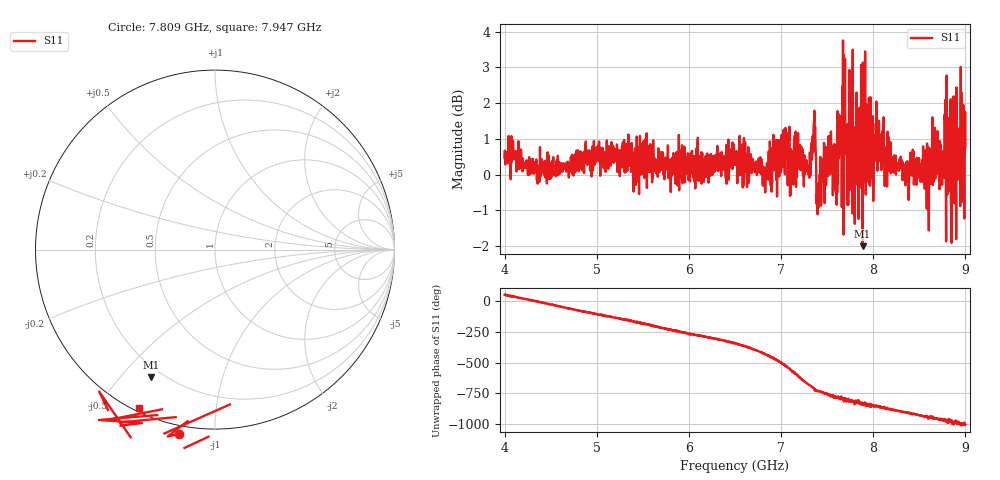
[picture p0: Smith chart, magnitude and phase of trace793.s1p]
! Created with skrf 1.8.0 (http://scikit-rf.org).
# Hz S RI R 50.0
!freq ReS11 ImS11
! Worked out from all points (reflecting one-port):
!   1601 points, 4 GHz to 9 GHz, reference 50 ohm
!   lowest |S11| = -2.0 dB at 7.884 GHz (marker M1), VSWR 8.71, Z = 7.9 - j30.4 ohm
!   phase of S11 starts at 50 deg and turns -1054 deg over the sweep
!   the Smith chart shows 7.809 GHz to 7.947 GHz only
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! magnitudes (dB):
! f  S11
! 4 GHz  0.5
! 4.625 GHz  0.1
! 5.25 GHz  0.0
! 5.875 GHz  0.3
! 6.5 GHz  0.5
! 6.825 GHz  -0.2
! 7.069 GHz  0.8
! 7.125 GHz  0.4
! 7.294 GHz  0.0
! 7.353 GHz  1.3
! 7.409 GHz  -0.9
! 7.522 GHz  0.2
! 7.584 GHz  -0.3
! 7.647 GHz  1.2
! 7.688 GHz  2.5
! 7.725 GHz  1.4
! 7.75 GHz  -0.1
! 7.816 GHz  -0.3
! 7.884 GHz  -2.0
! 7.928 GHz  1.7
! 8.375 GHz  0.0
! 8.603 GHz  -1.6
! 8.656 GHz  1.0
! 8.766 GHz  0.7
! 8.819 GHz  0.8
! 8.875 GHz  0.5
! 8.956 GHz  0.3
! 9 GHz  0.8
